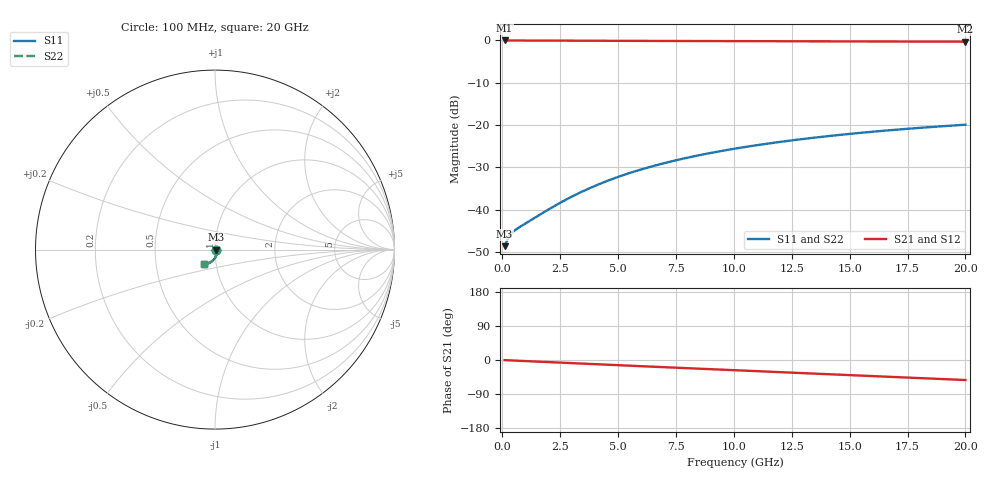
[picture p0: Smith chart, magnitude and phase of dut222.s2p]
! Touchstone file exported from HFSS 2026.1.0
!  File:  C:/ffzhzh/LocalFiles/Ansys_Project_Files/temp_train_BSMRDL_222_1782988063_41620.aedt
!  Generated:  06:29:20 PM Jul  2, 2026
!  Design:  BSMRDL
!  Project:  temp_train_BSMRDL_222_1782988063_41620
! Variables:
!  h_bsmrdl = 4.92um
!  h_ox = 20um
!  h_rdl = 5um
!  h_sub = 80um
!  h_tmrdl = 5um
!  h_tsv = 80um
!  h_via = 3um
!  l_bsmrdl = 954.88um
!  l_sub = 1354.88um
!  l_tmrdl = 200um
!  m_sub = 200um
!  pitch = 24.3um
!  r_tsv = 6um
!  s_tmrdl = 10um
!  w_bsmrdl = 20.77um
!  w_sub = 500um
!  w_tmrdl = 12um
!  x_tsv_center1 = 206um
!  x_tsv_center2 = 1181.65um
!  x_tsv_center3 = 1393.65um
!  x_tsv_center4 = 2369.3um
!  x_tsv_center5 = 2581.3um
!  x_tsv_center6 = 3556.95um
# GHz S MA R 50.000000
! Terminal data exported
! Port[1] = BSM_RDL1_1_T1
! Port[2] = BSM_RDL1_1_T2
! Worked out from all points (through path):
!   200 points, 100 MHz to 20 GHz, reference 50 ohm
!   highest |S21| = -0.03 dB at 100 MHz (marker M1); lowest = -0.3 dB at 20 GHz (marker M2)
!   group delay of S21, straight-line fit = 7.3 ps
!   lowest |S11| = -48.6 dB at 100 MHz (marker M3), VSWR 1.01, Z = 50.4 + j0.0515 ohm
!   |S11| at or under -10 dB: start of sweep to end of sweep
!   |S22| runs from -48.6 to -19.9 dB; largest |S21 - S12| = 2.3e-15
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0.1  0.003703 7.9  0.9963 -0.3  0.9963 -0.3  0.003703 7.9
! Gamma 0 0 0 0
! Port Impedance 50 0 50 0
0.2  0.004313 8.4  0.9957 -0.6  0.9957 -0.6  0.004313 8.4
0.3  0.004849 4.8  0.9952 -0.9  0.9952 -0.9  0.004849 4.8
0.4  0.005257 0.0  0.9948 -1.2  0.9948 -1.2  0.005257 0.0
0.6  0.005854 -9.1  0.9942 -1.7  0.9942 -1.7  0.005853 -9.1
1.7  0.008981 -39.8  0.9927 -4.8  0.9927 -4.8  0.008979 -39.8
2.3  0.01122 -48.9  0.9917 -6.4  0.9917 -6.4  0.01122 -48.9
2.9  0.01378 -55.5  0.9906 -8.1  0.9906 -8.1  0.01378 -55.5
3.5  0.01659 -60.8  0.9895 -9.7  0.9895 -9.7  0.01659 -60.8
4.2  0.02011 -65.9  0.9881 -11.6  0.9881 -11.6  0.0201 -66.0
5  0.02435 -71.0  0.9865 -13.7  0.9865 -13.7  0.02434 -71.0
5.9  0.02929 -76.1  0.9848 -16.1  0.9848 -16.1  0.02928 -76.1
6.8  0.03434 -80.7  0.9832 -18.5  0.9832 -18.5  0.03432 -80.7
7.6  0.03885 -84.4  0.9818 -20.6  0.9818 -20.6  0.03884 -84.5
8.4  0.04336 -88.0  0.9805 -22.7  0.9805 -22.7  0.04335 -88.0
10.1  0.05285 -94.9  0.9778 -27.1  0.9778 -27.1  0.05283 -94.9
11.7  0.06155 -100.8  0.9754 -31.3  0.9754 -31.3  0.06153 -100.9
13.4  0.07047 -106.8  0.9729 -35.8  0.9729 -35.8  0.07044 -106.8
15  0.07849 -112.0  0.9706 -39.9  0.9706 -39.9  0.07846 -112.1
16.7  0.08656 -117.4  0.9681 -44.3  0.9681 -44.3  0.08653 -117.5
18.3  0.09368 -122.3  0.9658 -48.5  0.9658 -48.5  0.09365 -122.4
20  0.1007 -127.4  0.9634 -52.9  0.9634 -52.9  0.1007 -127.5
